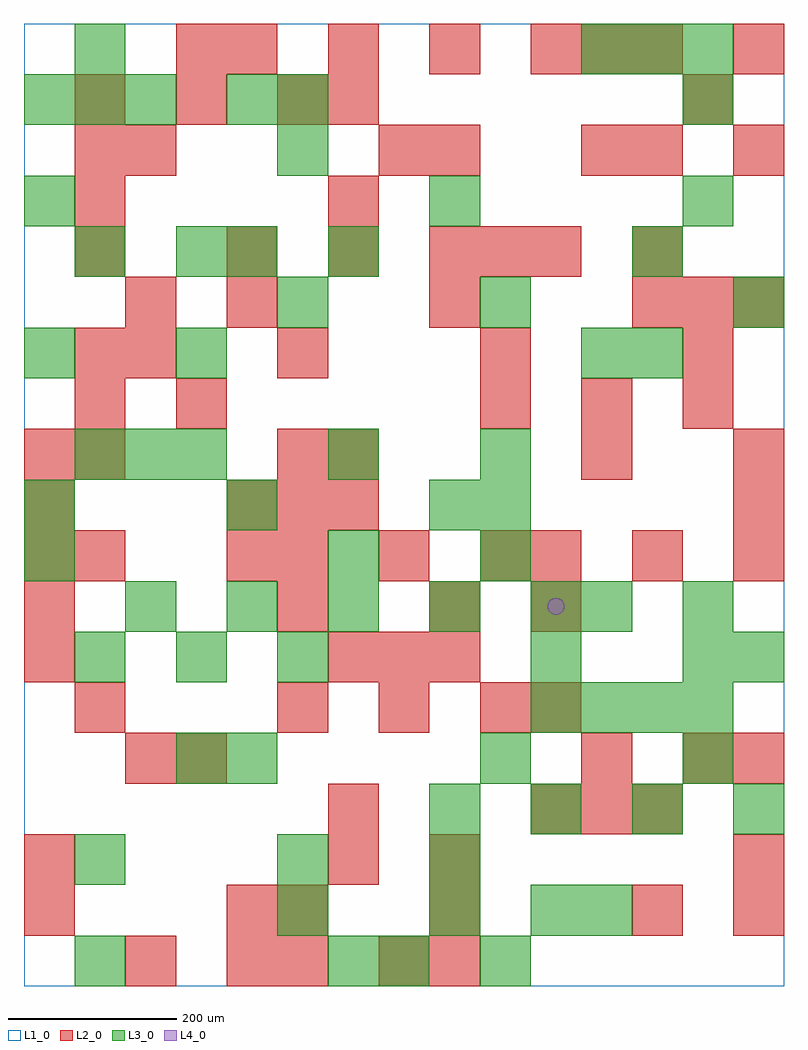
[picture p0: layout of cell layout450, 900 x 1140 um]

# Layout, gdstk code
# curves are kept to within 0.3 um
import gdstk
lib = gdstk.Library(unit=1e-6, precision=1e-09)
def R(c, l, rs):  # rectangles x0, y0, x1, y1
    for r in rs: c.add(gdstk.rectangle(r[:2], r[2:], *l))
def A(c, l, x, y, w, h, nx, ny, dx, dy):  # array of equal rectangles
    R(c, l, [(x+i*dx, y+j*dy, x+i*dx+w, y+j*dy+h) for i in range(nx) for j in range(ny)])
def P(c, l, *ps):  # polygons
    for p in ps: c.add(gdstk.Polygon(p, *l))
L1_0 = (1, 0)
L2_0 = (2, 0)
L3_0 = (3, 0)
L4_0 = (4, 0)

layout450 = lib.new_cell('layout450')
R(layout450, L1_0, [(0,0,900,1140)])
A(layout450, L2_0, 480, 0, 60, 60, 1, 3, 0, 60)
A(layout450, L2_0, 600, 180, 60, 60, 3, 1, 60, 0)
A(layout450, L2_0, 180, 240, 60, 60, 1, 3, 0, 420)
A(layout450, L2_0, 660, 240, 60, 60, 1, 3, 0, 360)
A(layout450, L2_0, 300, 300, 60, 60, 3, 2, 120, 180)
A(layout450, L2_0, 0, 360, 60, 60, 1, 5, 0, 60)
A(layout450, L2_0, 360, 360, 60, 60, 3, 1, 60, 0)
A(layout450, L2_0, 600, 480, 60, 60, 3, 1, 120, 0)
A(layout450, L2_0, 240, 540, 60, 60, 3, 1, 60, 0)
A(layout450, L2_0, 60, 600, 60, 60, 1, 3, 0, 60)
A(layout450, L2_0, 840, 600, 60, 60, 1, 3, 0, 180)
A(layout450, L2_0, 540, 660, 60, 60, 3, 1, 120, 0)
A(layout450, L2_0, 300, 720, 60, 60, 3, 1, 240, 0)
A(layout450, L2_0, 240, 780, 60, 60, 3, 1, 240, 0)
A(layout450, L2_0, 60, 840, 60, 60, 1, 3, 0, 60)
A(layout450, L2_0, 240, 840, 60, 60, 3, 1, 120, 0)
A(layout450, L2_0, 720, 840, 60, 60, 1, 3, 0, 120)
A(layout450, L2_0, 60, 1020, 60, 60, 3, 1, 120, 0)
A(layout450, L2_0, 240, 1080, 60, 60, 4, 1, 120, 0)
R(layout450, L2_0, [(120,0,180,60), (240,0,300,60), (300,0,360,60), (420,0,480,60), (0,60,60,120), (240,60,300,120), (300,60,360,120), (720,60,780,120), (840,60,900,120), (0,120,60,180), (360,120,420,180), (840,120,900,180), (360,180,420,240), (120,240,180,300), (780,240,840,300), (840,240,900,300), (60,300,120,360), (600,300,660,360), (300,420,360,480), (480,420,540,480), (600,420,660,480), (60,480,120,540), (240,480,300,540), (840,540,900,600), (300,600,360,660), (360,600,420,660), (120,720,180,780), (120,780,180,840), (780,780,840,840), (540,840,600,900), (600,840,660,900), (360,900,420,960), (120,960,180,1020), (420,960,480,1020), (480,960,540,1020), (360,1020,420,1080), (780,1020,840,1080), (660,1080,720,1140), (840,1080,900,1140)])
A(layout450, L3_0, 540, 0, 60, 60, 1, 3, 0, 240)
A(layout450, L3_0, 480, 180, 60, 60, 4, 1, 120, 0)
A(layout450, L3_0, 600, 300, 60, 60, 4, 1, 60, 0)
A(layout450, L3_0, 60, 360, 60, 60, 3, 1, 120, 0)
A(layout450, L3_0, 120, 420, 60, 60, 5, 1, 120, 0)
A(layout450, L3_0, 0, 540, 60, 60, 3, 1, 240, 0)
A(layout450, L3_0, 60, 600, 60, 60, 3, 1, 60, 0)
A(layout450, L3_0, 0, 1020, 60, 60, 3, 1, 60, 0)
A(layout450, L3_0, 660, 1080, 60, 60, 3, 1, 60, 0)
R(layout450, L3_0, [(60,0,120,60), (360,0,420,60), (420,0,480,60), (300,60,360,120), (480,60,540,120), (600,60,660,120), (660,60,720,120), (60,120,120,180), (300,120,360,180), (480,120,540,180), (180,240,240,300), (240,240,300,300), (780,240,840,300), (600,360,660,420), (780,360,840,420), (840,360,900,420), (660,420,720,480), (780,420,840,480), (0,480,60,540), (360,480,420,540), (540,540,600,600), (360,600,420,660), (540,600,600,660), (0,720,60,780), (180,720,240,780), (660,720,720,780), (720,720,780,780), (300,780,360,840), (540,780,600,840), (840,780,900,840), (60,840,120,900), (180,840,240,900), (240,840,300,900), (360,840,420,900), (720,840,780,900), (0,900,60,960), (480,900,540,960), (780,900,840,960), (300,960,360,1020), (240,1020,300,1080), (300,1020,360,1080), (780,1020,840,1080), (60,1080,120,1140)])
P(layout450, L4_0, [(640,450),(639.239,453.827),(637.071,457.071),(633.827,459.239),(630,460),(626.173,459.239),(622.929,457.071),(620.761,453.827),(620,450),(620.761,446.173),(622.929,442.929),(626.173,440.761),(630,440),(633.827,440.761),(637.071,442.929),(639.239,446.173)])

lib.write_gds('layout450.gds')
